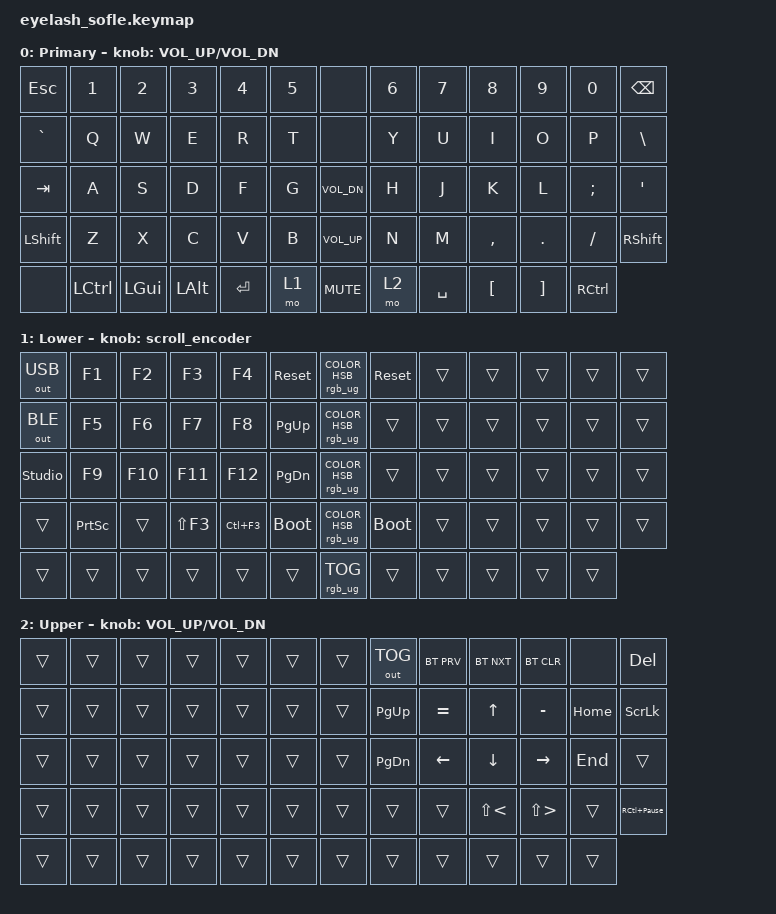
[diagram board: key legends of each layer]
#define ZMK_POINTING_DEFAULT_MOVE_VAL 1200  // 600
#define ZMK_POINTING_DEFAULT_SCRL_VAL 25   // 10

#include <input/processors.dtsi>
#include <zephyr/dt-bindings/input/input-event-codes.h>
#include <behaviors.dtsi>
#include <dt-bindings/zmk/bt.h>
#include <dt-bindings/zmk/keys.h>
#include <dt-bindings/zmk/outputs.h>
#include <dt-bindings/zmk/pointing.h>
#include <dt-bindings/zmk/rgb.h>

&mmv_input_listener { input-processors = <&zip_xy_scaler 2 1>; };

&msc_input_listener { input-processors = <&zip_scroll_scaler 2 1>; };

&msc {
    acceleration-exponent = <1>;      // 0
    time-to-max-speed-ms = <100>;       // 300
    delay-ms = <0>;                   // 0
};

&mmv {
    time-to-max-speed-ms = <500>;
    acceleration-exponent = <1>;
    trigger-period-ms = <16>;
};

/ {
    scroll_encoder: scroll_encoder {
        compatible = "zmk,behavior-sensor-rotate";
        #sensor-binding-cells = <0>;
        bindings = <&msc SCRL_DOWN>, <&msc SCRL_UP>;

        tap-ms = <100>;
    };

    combos { compatible = "zmk,combos"; };

    macros {
        HomePC: HomePC {
            compatible = "zmk,behavior-macro";
            #binding-cells = <0>;
            bindings = <&bt BT_SEL 0 &rgb_ug RGB_COLOR_HSB(206,95,57) &to 0>;
            label = "HOMEPC";
        };

        WorkPC: WorkPC {
            compatible = "zmk,behavior-macro";
            #binding-cells = <0>;
            bindings = <&bt BT_SEL 1 &rgb_ug RGB_COLOR_HSB(278,93,56) &to 0>;
            label = "WORKPC";
        };

        GameMode: GameMode {
            compatible = "zmk,behavior-macro";
            #binding-cells = <0>;
            bindings = <&GameMode &rgb_ug RGB_COLOR_HSB(29,99,38) &to 2>;
            label = "GAMEMODE";
        };

        KVM_Toggle: KVM_Toggle {
            compatible = "zmk,behavior-macro";
            #binding-cells = <0>;
            bindings = <&kp SLCK &kp SLCK &kp UP>;
            label = "KVM_TOGGLE";
        };
    };

    behaviors {
    };

    keymap {
        compatible = "zmk,keymap";

        Primary {
            bindings = <
&kp ESC    &kp N1     &kp N2        &kp N3    &kp N4     &kp N5    &none            &kp N6  &kp N7     &kp N8     &kp N9    &kp N0     &kp BSPC
&kp GRAVE  &kp Q      &kp W         &kp E     &kp R      &kp T     &none            &kp Y   &kp U      &kp I      &kp O     &kp P      &kp BSLH
&kp TAB    &kp A      &kp S         &kp D     &kp F      &kp G     &kp C_VOL_DN     &kp H   &kp J      &kp K      &kp L     &kp SEMI   &kp SQT
&kp LSHFT  &kp Z      &kp X         &kp C     &kp V      &kp B     &kp C_VOLUME_UP  &kp N   &kp M      &kp COMMA  &kp DOT   &kp FSLH   &kp RSHIFT
&none      &kp LCTRL  &kp LEFT_GUI  &kp LALT  &kp ENTER  &mo 1     &kp C_MUTE       &mo 2   &kp SPACE  &kp LBKT   &kp RBKT  &kp RCTRL
            >;

            sensor-bindings = <&inc_dec_kp C_VOL_UP C_VOL_DN>;
            display-name = "Primary";
        };

        Lower {
            bindings = <
&out OUT_USB    &kp F1           &kp F2   &kp F3      &kp F4      &sys_reset     &rgb_ug RGB_COLOR_HSB(28,100,50)   &sys_reset   &trans  &trans  &trans  &trans  &trans
&out OUT_BLE    &kp F5           &kp F6   &kp F7      &kp F8      &kp PG_UP      &rgb_ug RGB_COLOR_HSB(176,100,50)  &trans       &trans  &trans  &trans  &trans  &trans
&studio_unlock  &kp F9           &kp F10  &kp F11     &kp F12     &kp PG_DN      &rgb_ug RGB_COLOR_HSB(300,100,50)  &trans       &trans  &trans  &trans  &trans  &trans
&trans          &kp PRINTSCREEN  &trans   &kp LS(F3)  &kp LC(F3)  &bootloader    &rgb_ug RGB_COLOR_HSB(264,100,50)  &bootloader  &trans  &trans  &trans  &trans  &trans
&trans          &trans           &trans   &trans      &trans      &trans         &rgb_ug RGB_TOG                    &trans       &trans  &trans  &trans  &trans
            >;

            display-name = "Lower";
            sensor-bindings = <&scroll_encoder>;
        };

        Upper {
            bindings = <
&trans  &trans  &trans  &trans  &trans  &trans    &trans  &out OUT_TOG  &bt BT_PRV  &bt BT_NXT  &bt BT_CLR  &none     &kp DEL
&trans  &trans  &trans  &trans  &trans  &trans    &trans  &kp PG_UP     &kp EQUAL   &kp UP      &kp MINUS   &kp HOME  &kp SLCK
&trans  &trans  &trans  &trans  &trans  &trans    &trans  &kp PG_DN     &kp LEFT    &kp DOWN    &kp RIGHT   &kp END   &trans
&trans  &trans  &trans  &trans  &trans  &trans    &trans  &trans        &trans      &kp LS(LT)  &kp LS(GT)  &trans    &kp RC(PAUSE_BREAK)
&trans  &trans  &trans  &trans  &trans  &trans    &trans  &trans        &trans      &trans      &trans      &trans
            >;

            sensor-bindings = <&inc_dec_kp C_VOL_UP C_VOL_DN>;
            label = "Upper";
        };
    };
};
